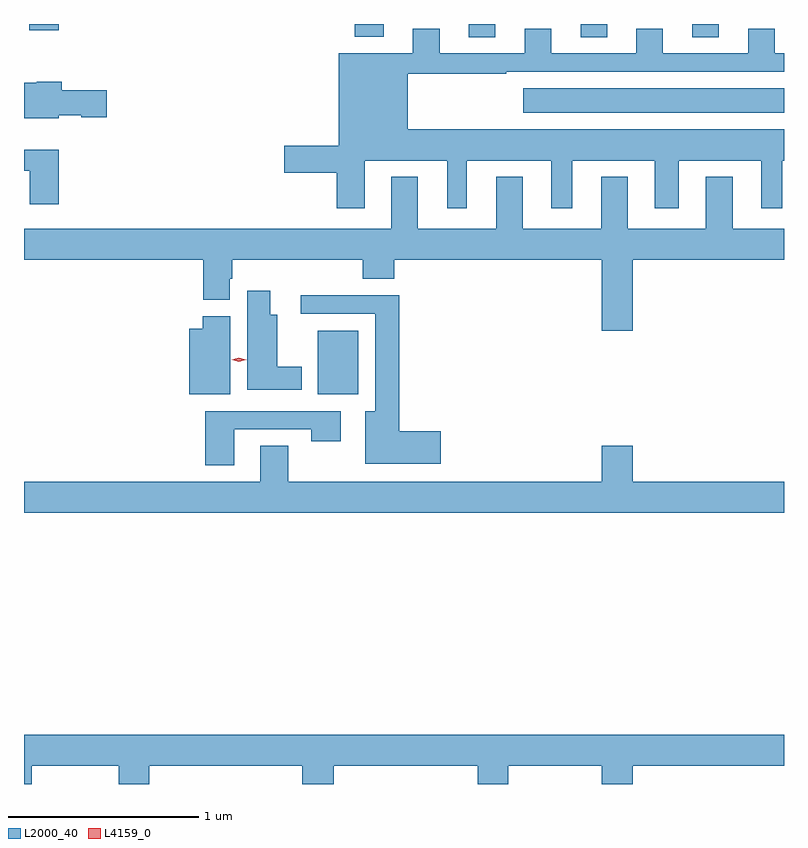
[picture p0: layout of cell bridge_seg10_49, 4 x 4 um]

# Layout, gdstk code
import gdstk
lib = gdstk.Library(unit=1e-6, precision=1e-09)
def R(c, l, rs):  # rectangles x0, y0, x1, y1
    for r in rs: c.add(gdstk.rectangle(r[:2], r[2:], *l))
def A(c, l, x, y, w, h, nx, ny, dx, dy):  # array of equal rectangles
    R(c, l, [(x+i*dx, y+j*dy, x+i*dx+w, y+j*dy+h) for i in range(nx) for j in range(ny)])
def P(c, l, *ps):  # polygons
    for p in ps: c.add(gdstk.Polygon(p, *l))
L2000_40 = (2000, 40)
L4159_0 = (4159, 0)

bridge_seg10_49 = lib.new_cell('bridge_seg10_49')
A(bridge_seg10_49, L2000_40, 871.601, 1317.472, 0.14, 0.069, 3, 1, 0.588, 0)
R(bridge_seg10_49, L2000_40, [(870.806,1315.592,871.018,1315.927), (871.887,1317.074,873.26,1317.202), (871.001,1317.473,871.153,1317.541), (869.287,1317.508,869.444,1317.541)])
P(bridge_seg10_49, L2000_40, [(871.054,1316.822),(871.487,1316.822),(871.487,1316.571),(871.591,1316.571),(871.591,1316.822),(872.036,1316.822),(872.036,1316.571),(872.146,1316.571),(872.146,1316.822),(872.579,1316.822),(872.579,1316.571),(872.707,1316.571),(872.707,1316.822),(873.14,1316.822),(873.14,1316.571),(873.25,1316.571),(873.25,1316.822),(873.26,1316.822),(873.26,1316.986),(871.279,1316.986),(871.279,1317.279),(871.799,1317.279),(871.799,1317.291),(873.26,1317.291),(873.26,1317.387),(873.211,1317.387),(873.211,1317.517),(873.071,1317.517),(873.071,1317.387),(872.623,1317.387),(872.623,1317.517),(872.483,1317.517),(872.483,1317.387),(872.035,1317.387),(872.035,1317.517),(871.895,1317.517),(871.895,1317.387),(871.447,1317.387),(871.447,1317.517),(871.307,1317.517),(871.307,1317.388),(870.917,1317.388),(870.917,1316.9),(870.63,1316.9),(870.63,1316.758),(870.905,1316.758),(870.905,1316.571),(871.054,1316.571)],
  [(869.442,1317.062),(869.562,1317.062),(869.562,1317.05),(869.695,1317.05),(869.695,1317.192),(869.459,1317.192),(869.459,1317.238),(869.328,1317.238),(869.328,1317.232),(869.26,1317.232),(869.26,1317.044),(869.442,1317.044)],
  [(869.444,1316.878),(869.26,1316.878),(869.26,1316.769),(869.291,1316.769),(869.291,1316.592),(869.444,1316.592)],
  [(872.464,1316.3),(873.26,1316.3),(873.26,1316.464),(872.989,1316.464),(872.989,1316.737),(872.849,1316.737),(872.849,1316.464),(872.437,1316.464),(872.437,1316.737),(872.297,1316.737),(872.297,1316.464),(871.885,1316.464),(871.885,1316.737),(871.745,1316.737),(871.745,1316.464),(871.333,1316.464),(871.333,1316.737),(871.193,1316.737),(871.193,1316.464),(869.26,1316.464),(869.26,1316.3),(870.203,1316.3),(870.203,1316.089),(870.343,1316.089),(870.343,1316.199),(870.356,1316.199),(870.356,1316.3),(871.043,1316.3),(871.043,1316.201),(871.208,1316.201),(871.208,1316.3),(872.3,1316.3),(872.3,1315.926),(872.464,1315.926)],
  [(870.721,1315.738),(870.592,1315.738),(870.592,1316.011),(870.556,1316.011),(870.556,1316.137),(870.434,1316.137),(870.434,1315.616),(870.721,1315.616)],
  [(871.453,1315.397),(871.235,1315.397),(871.235,1316.114),(870.717,1316.114),(870.717,1316.016),(871.109,1316.016),(871.109,1315.504),(871.055,1315.504),(871.055,1315.226),(871.453,1315.226)],
  [(870.346,1316.004),(870.2,1316.004),(870.2,1315.936),(870.131,1315.936),(870.131,1315.592),(870.346,1315.592)],
  [(870.367,1315.407),(870.772,1315.407),(870.772,1315.344),(870.928,1315.344),(870.928,1315.503),(870.215,1315.503),(870.215,1315.218),(870.367,1315.218)],
  [(873.26,1315.132),(872.464,1315.132),(872.464,1315.321),(872.3,1315.321),(872.3,1315.132),(870.651,1315.132),(870.651,1315.322),(870.503,1315.322),(870.503,1315.132),(869.26,1315.132),(869.26,1314.968),(873.26,1314.968)],
  [(869.301,1313.636),(869.758,1313.636),(869.758,1313.541),(869.918,1313.541),(869.918,1313.636),(870.725,1313.636),(870.725,1313.541),(870.89,1313.541),(870.89,1313.636),(871.649,1313.636),(871.649,1313.541),(871.809,1313.541),(871.809,1313.636),(872.3,1313.636),(872.3,1313.541),(872.464,1313.541),(872.464,1313.636),(873.26,1313.636),(873.26,1313.8),(869.26,1313.8),(869.26,1313.541),(869.301,1313.541)])
P(bridge_seg10_49, L4159_0, [(870.391,1315.764),(870.353,1315.774),(870.353,1315.774),(870.353,1315.774),(870.391,1315.784),(870.429,1315.774),(870.43,1315.774),(870.429,1315.774)])

lib.write_gds('bridge_seg10_49.gds')
